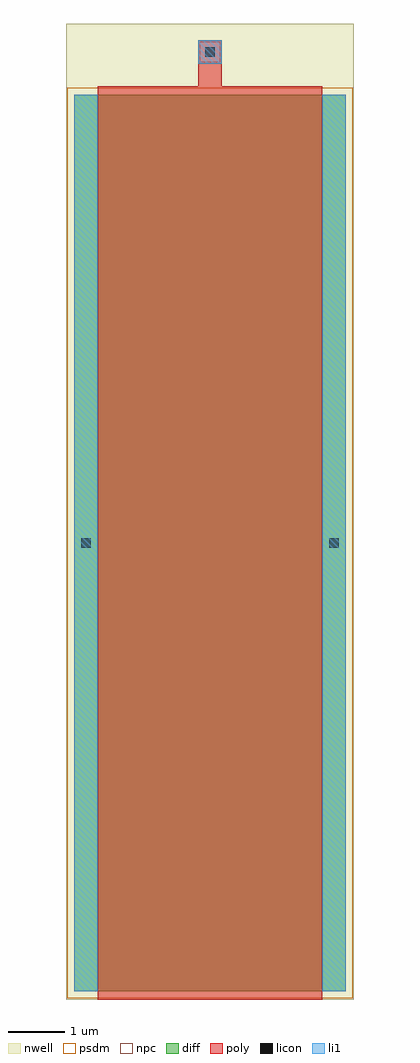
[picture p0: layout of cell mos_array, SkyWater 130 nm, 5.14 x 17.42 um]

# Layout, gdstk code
import gdstk
lib = gdstk.Library(unit=1e-6, precision=1e-09)
def R(c, l, rs):  # rectangles x0, y0, x1, y1
    for r in rs: c.add(gdstk.rectangle(r[:2], r[2:], *l))
nwell = (64, 20)
diff = (65, 20)
poly = (66, 20)
licon = (66, 44)
li1 = (67, 20)
psdm = (94, 20)
npc = (95, 20)

mos_array = lib.new_cell('mos_array')
R(mos_array, nwell, [(-0.15,-0.15,4.99,17.27)])
R(mos_array, diff, [(0,0,4.84,16)])
R(mos_array, poly, [(0.42,-0.15,4.42,16), (0.42,16,4.42,16.15), (0.42,16,4.42,16.15), (2.21,16.15,2.63,16.97)])
R(mos_array, licon, [(0.125,7.915,0.295,8.085), (4.545,7.915,4.715,8.085), (2.335,16.675,2.505,16.845)])
R(mos_array, li1, [(0,0,0.42,16), (4.42,0,4.84,16), (2.21,16.55,2.63,16.97)])
R(mos_array, psdm, [(-0.125,-0.125,4.965,16.125)])
R(mos_array, npc, [(2.24,16.58,2.6,16.94)])

lib.write_gds('mos_array.gds')
